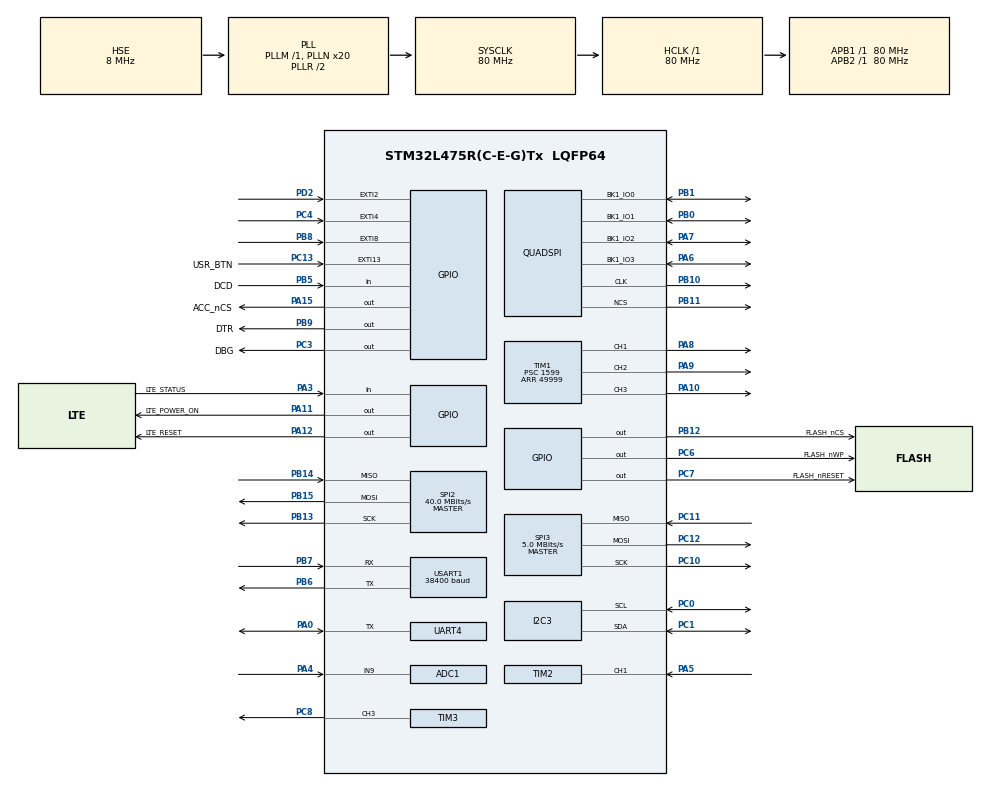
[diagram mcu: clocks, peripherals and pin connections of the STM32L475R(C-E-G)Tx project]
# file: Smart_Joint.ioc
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ADC1.Channel-0\#ChannelRegularConversion=ADC_CHANNEL_9
ADC1.DMAContinuousRequests=ENABLE
ADC1.EOCSelection=ADC_EOC_SEQ_CONV
ADC1.ExternalTrigConv=ADC_EXTERNALTRIG_T4_TRGO
ADC1.NbrOfConversion=1
ADC1.NbrOfConversionFlag=1
ADC1.OffsetNumber-0\#ChannelRegularConversion=ADC_OFFSET_NONE
ADC1.Rank-0\#ChannelRegularConversion=1
ADC1.SamplingTime-0\#ChannelRegularConversion=ADC_SAMPLETIME_2CYCLES_5
ADC1.master=1
Dma.ADC1.0.Direction=DMA_PERIPH_TO_MEMORY
Dma.ADC1.0.Instance=DMA1_Channel1
Dma.ADC1.0.MemDataAlignment=DMA_MDATAALIGN_HALFWORD
Dma.ADC1.0.MemInc=DMA_MINC_ENABLE
Dma.ADC1.0.Mode=DMA_CIRCULAR
Dma.ADC1.0.PeriphDataAlignment=DMA_PDATAALIGN_HALFWORD
Dma.ADC1.0.PeriphInc=DMA_PINC_DISABLE
Dma.ADC1.0.Priority=DMA_PRIORITY_HIGH
Dma.Request0=ADC1
Dma.Request1=USART1_RX
Dma.Request2=USART1_TX
Dma.USART1_RX.1.Direction=DMA_PERIPH_TO_MEMORY
Dma.USART1_RX.1.Instance=DMA1_Channel5
Dma.USART1_RX.1.MemDataAlignment=DMA_MDATAALIGN_BYTE
Dma.USART1_RX.1.MemInc=DMA_MINC_ENABLE
Dma.USART1_RX.1.Mode=DMA_NORMAL
Dma.USART1_RX.1.PeriphDataAlignment=DMA_PDATAALIGN_BYTE
Dma.USART1_RX.1.PeriphInc=DMA_PINC_DISABLE
Dma.USART1_RX.1.Priority=DMA_PRIORITY_LOW
Dma.USART1_TX.2.Direction=DMA_MEMORY_TO_PERIPH
Dma.USART1_TX.2.Instance=DMA1_Channel4
Dma.USART1_TX.2.MemDataAlignment=DMA_MDATAALIGN_BYTE
Dma.USART1_TX.2.MemInc=DMA_MINC_ENABLE
Dma.USART1_TX.2.Mode=DMA_NORMAL
Dma.USART1_TX.2.PeriphDataAlignment=DMA_PDATAALIGN_BYTE
Dma.USART1_TX.2.PeriphInc=DMA_PINC_DISABLE
Dma.USART1_TX.2.Priority=DMA_PRIORITY_MEDIUM
I2C3.Timing=0x10D19CE4
Mcu.Family=STM32L4
Mcu.Name=STM32L475R(C-E-G)Tx
Mcu.Package=LQFP64
NVIC.DMA1_Channel1_IRQn=true\:0\:0\:false\:false\:true\:false\:true\:true
NVIC.DMA1_Channel4_IRQn=true\:0\:0\:false\:false\:true\:false\:true\:true
NVIC.DMA1_Channel5_IRQn=true\:0\:0\:false\:false\:true\:false\:true\:true
NVIC.EXTI15_10_IRQn=true\:2\:0\:true\:false\:true\:true\:true\:true
NVIC.EXTI2_IRQn=true\:0\:0\:false\:false\:true\:true\:true\:true
NVIC.EXTI4_IRQn=true\:1\:0\:true\:false\:true\:true\:true\:true
NVIC.EXTI9_5_IRQn=true\:3\:0\:true\:false\:true\:true\:true\:true
NVIC.PriorityGroup=NVIC_PRIORITYGROUP_4
NVIC.RTC_Alarm_IRQn=true\:2\:0\:true\:false\:true\:true\:true\:true
NVIC.TIM2_IRQn=true\:0\:0\:false\:false\:true\:true\:true\:true
NVIC.USART1_IRQn=true\:1\:0\:true\:false\:true\:true\:true\:true
PA0.GPIO_PuPdOD=GPIO_NOPULL
PA0.Mode=Half_duplex(single_wire_mode)
PA0.Signal=UART4_TX
PA10.Signal=S_TIM1_CH3
PA11.GPIO_Label=LTE_POWER_ON
PA11.GPIO_ModeDefaultOutputPP=GPIO_MODE_OUTPUT_PP
PA11.GPIO_PuPd=GPIO_NOPULL
PA11.PinState=GPIO_PIN_RESET
PA11.Signal=GPIO_Output
PA12.GPIO_Label=LTE_RESET
PA12.GPIO_ModeDefaultOutputPP=GPIO_MODE_OUTPUT_PP
PA12.GPIO_PuPd=GPIO_NOPULL
PA12.PinState=GPIO_PIN_RESET
PA12.Signal=GPIO_Output
PA13\ (JTMS-SWDIO).Mode=Serial_Wire
PA13\ (JTMS-SWDIO).Signal=SYS_JTMS-SWDIO
PA14\ (JTCK-SWCLK).Mode=Serial_Wire
PA14\ (JTCK-SWCLK).Signal=SYS_JTCK-SWCLK
PA15\ (JTDI).GPIO_Label=ACC_nCS
PA15\ (JTDI).Signal=GPIO_Output
PA3.GPIO_Label=LTE_STATUS
PA3.Signal=GPIO_Input
PA4.Signal=ADCx_IN9
PA5.GPIO_PuPd=GPIO_PULLUP
PA5.Signal=S_TIM2_CH1
PA6.Mode=Single Bank
PA6.Signal=QUADSPI_BK1_IO3
PA7.Mode=Single Bank
PA7.Signal=QUADSPI_BK1_IO2
PA8.Signal=S_TIM1_CH1
PA9.Signal=S_TIM1_CH2
PB0.Mode=Single Bank
PB0.Signal=QUADSPI_BK1_IO1
PB1.Mode=Single Bank
PB1.Signal=QUADSPI_BK1_IO0
PB10.Mode=Single Bank
PB10.Signal=QUADSPI_CLK
PB11.Mode=Single Bank
PB11.Signal=QUADSPI_NCS
PB12.GPIO_Label=FLASH_nCS
PB12.PinState=GPIO_PIN_SET
PB12.Signal=GPIO_Output
PB13.Mode=Full_Duplex_Master
PB13.Signal=SPI2_SCK
PB14.Mode=Full_Duplex_Master
PB14.Signal=SPI2_MISO
PB15.Mode=Full_Duplex_Master
PB15.Signal=SPI2_MOSI
PB3\ (JTDO-TRACESWO).Signal=USART1_RTS
PB4\ (NJTRST).Signal=USART1_CTS
PB5.GPIO_Label=DCD
PB5.Signal=GPIO_Input
PB6.Mode=Asynchronous
PB6.Signal=USART1_TX
PB7.Mode=Asynchronous
PB7.Signal=USART1_RX
PB8.Signal=GPXTI8
PB9.GPIO_Label=DTR
PB9.Signal=GPIO_Output
PC0.Mode=I2C
PC0.Signal=I2C3_SCL
PC1.Mode=I2C
PC1.Signal=I2C3_SDA
PC10.Mode=Full_Duplex_Master
PC10.Signal=SPI3_SCK
PC11.Mode=Full_Duplex_Master
PC11.Signal=SPI3_MISO
PC12.Mode=Full_Duplex_Master
PC12.Signal=SPI3_MOSI
PC13.GPIO_Label=USR_BTN
PC13.Signal=GPXTI13
PC3.GPIO_Label=DBG
PC3.Signal=GPIO_Output
PC4.Signal=GPXTI4
PC6.GPIO_Label=FLASH_nWP
PC6.PinState=GPIO_PIN_SET
PC6.Signal=GPIO_Output
PC7.GPIO_Label=FLASH_nRESET
PC7.PinState=GPIO_PIN_SET
PC7.Signal=GPIO_Output
PC8.Signal=S_TIM3_CH3
PD2.Signal=GPXTI2
PH0-OSC_IN\ (PH0).Mode=HSE-External-Oscillator
PH0-OSC_IN\ (PH0).Signal=RCC_OSC_IN
PH1-OSC_OUT\ (PH1).Mode=HSE-External-Oscillator
PH1-OSC_OUT\ (PH1).Signal=RCC_OSC_OUT
ProjectManager.HeapSize=0x200
ProjectManager.StackSize=0x400
ProjectManager.TargetToolchain=STM32CubeIDE
QUADSPI.ClockPrescaler-Single\ Bank=1
QUADSPI.FlashSize-Single\ Bank=24
RCC.ADCFreq_Value=32000000
RCC.AHBFreq_Value=80000000
RCC.APB1Freq_Value=80000000
RCC.APB1TimFreq_Value=80000000
RCC.APB2Freq_Value=80000000
RCC.APB2TimFreq_Value=80000000
RCC.CortexFreq_Value=80000000
RCC.HCLKFreq_Value=80000000
RCC.HSE_VALUE=8000000
RCC.HSI_VALUE=16000000
RCC.LSE_VALUE=32768
RCC.MSI_VALUE=4000000
RCC.PLLN=20
RCC.PLLSourceVirtual=RCC_PLLSOURCE_HSE
RCC.SYSCLKFreq_VALUE=80000000
RCC.SYSCLKSource=RCC_SYSCLKSOURCE_PLLCLK
RCC.USBFreq_Value=32000000
RCC.VCOOutputFreq_Value=160000000
RTC.Alarm-Alarm\ A=RTC_ALARM_A
RTC.AlarmMaskDateWeekDay-Alarm\ A=RTC_ALARMMASK_DATEWEEKDAY
RTC.AlarmMaskHours-Alarm\ A=RTC_ALARMMASK_HOURS
RTC.AlarmMaskSeconds-Alarm\ A=RTC_ALARMMASK_SECONDS
RTC.Format=RTC_FORMAT_BIN
SH.ADCx_IN9.0=ADC1_IN9,IN9-Single-Ended
SH.S_TIM1_CH1.0=TIM1_CH1,PWM Generation1 CH1
SH.S_TIM1_CH2.0=TIM1_CH2,PWM Generation2 CH2
SH.S_TIM1_CH3.0=TIM1_CH3,PWM Generation3 CH3
SH.S_TIM2_CH1.0=TIM2_CH1,Input_Capture1_from_TI1
SH.S_TIM3_CH3.0=TIM3_CH3,PWM Generation3 CH3
SPI2.BaudRatePrescaler=SPI_BAUDRATEPRESCALER_2
SPI2.CalculateBaudRate=40.0 MBits/s
SPI2.DataSize=SPI_DATASIZE_8BIT
SPI2.Direction=SPI_DIRECTION_2LINES
SPI2.Mode=SPI_MODE_MASTER
SPI2.VirtualType=VM_MASTER
SPI3.BaudRatePrescaler=SPI_BAUDRATEPRESCALER_16
SPI3.CalculateBaudRate=5.0 MBits/s
SPI3.DataSize=SPI_DATASIZE_8BIT
SPI3.Direction=SPI_DIRECTION_2LINES
SPI3.Mode=SPI_MODE_MASTER
SPI3.VirtualType=VM_MASTER
TIM1.Channel-PWM\ Generation1\ CH1=TIM_CHANNEL_1
TIM1.Channel-PWM\ Generation2\ CH2=TIM_CHANNEL_2
TIM1.Channel-PWM\ Generation3\ CH3=TIM_CHANNEL_3
TIM1.Period=49999
TIM1.Prescaler=1599
TIM2.Channel-Input_Capture1_from_TI1=TIM_CHANNEL_1
TIM2.Channel-Input_Capture4_from_TI4=TIM_CHANNEL_4
TIM3.Channel-PWM\ Generation3\ CH3=TIM_CHANNEL_3
TIM3.Period=31
TIM3.Pulse-PWM\ Generation3\ CH3=15
TIM4.AutoReloadPreload=TIM_AUTORELOAD_PRELOAD_ENABLE
TIM4.Channel-Output\ Compare3\ No\ Output=TIM_CHANNEL_3
TIM4.Period=999
TIM4.Prescaler=99
TIM4.Pulse-Output\ Compare3\ No\ Output=1
TIM4.TIM_MasterOutputTrigger=TIM_TRGO_UPDATE
TIM4.TIM_MasterSlaveMode=TIM_MASTERSLAVEMODE_DISABLE
USART1.BaudRate=38400
USART1.VirtualMode-Asynchronous=VM_ASYNC
VP_CRC_VS_CRC.Mode=CRC_Activate
VP_RTC_VS_RTC_Activate.Mode=RTC_Enabled
VP_RTC_VS_RTC_Alarm_A_Intern.Mode=Alarm A
VP_RTC_VS_RTC_Calendar.Mode=RTC_Calendar
VP_TIM3_VS_ClockSourceITR.Mode=TriggerSource_ITR3
VP_TIM3_VS_ControllerModeClock.Mode=Clock Mode
VP_TIM4_VS_ClockSourceINT.Mode=Internal
VP_TIM4_VS_no_output3.Mode=Output Compare3 No Output
board=custom

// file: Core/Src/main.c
/* USER CODE BEGIN Header */
/**
 ******************************************************************************
 * @file           : main.c
 * @brief          : Main program body
 ******************************************************************************
 * @attention
 *
 * Copyright (c) 2024 STMicroelectronics.
 * All rights reserved.
 *
 * This software is licensed under terms that can be found in the LICENSE file
 * in the root directory of this software component.
 * If no LICENSE file comes with this software, it is provided AS-IS.
 *
 ******************************************************************************
 */
/* USER CODE END Header */
#include "main.h"

/* USER CODE BEGIN Includes */
#include "leds.h"
#include "peripherals.h"
#include "global_variables.h"
#include "DS18B20.h"
#include "INA3221.h"
#include "INA3221_reg.h"
#include "init.h"
#include "process.h"
#include "FatFS/ff.h"
#include "stdio.h"
#include "string.h"
#include "battery_charger.h"
#include "lsm6dsv16x_reg.h"
#include "SIM7000.h"
#include "ota.h"
/* USER CODE END Includes */

ADC_HandleTypeDef hadc1;
DMA_HandleTypeDef hdma_adc1;

CRC_HandleTypeDef hcrc;

I2C_HandleTypeDef hi2c3;

QSPI_HandleTypeDef hqspi;

RTC_HandleTypeDef hrtc;

SPI_HandleTypeDef hspi2;
SPI_HandleTypeDef hspi3;

TIM_HandleTypeDef htim1;
TIM_HandleTypeDef htim2;
TIM_HandleTypeDef htim3;
TIM_HandleTypeDef htim4;

UART_HandleTypeDef huart4;
UART_HandleTypeDef huart1;
DMA_HandleTypeDef hdma_usart1_rx;
DMA_HandleTypeDef hdma_usart1_tx;

/* USER CODE BEGIN PV */
Machine_State_TypeDef state = IDLE;
System_Resources_Typedef sys = {0};
System_Flags_TypeDef flags = {0};
Config_Typedef config = {0};

FATFS psram_fs = {0};
FATFS flash_fs = {0};

uint32_t T_current = 0;
uint32_t T_prev = 0;
uint32_t V_Period = 0;

supply_bus_t Supply = {0};
uint8_t Period_cnt = 0;
uint8_t Volume_Avg_Cnt = 0;

uint16_t Pressure[PRESS_FULL_SAMPLES] = {0};
uint32_t Volume_Period[VOLUME_SAMPLES] = {0};
uint8_t Acceleration[ACC_FIFO_WATERMARK*7] = {0};
uint16_t Last_Pressure = 0;
uint32_t Last_Volume = 0;
uint32_t Volume_Average_Buffer[VOL_AVG_BUFFER_LEN] = {0};
Acceleration_Data_TypeDef Last_Acceleration = {0};
uint16_t Temperature = 0;
uint16_t Vbatt = 0;

char Data_Logging[100] = {0};
uint8_t Saving_Buffer[SAVING_BUFFER_LEN] = {0};
int Address_Offset = 0;

char LTE_Ack_buffer[100] = {0};

uint16_t Cycles_After_Warning = 0;

uint32_t Saved_Bytes = 0;
uint16_t Saved_Samples = 0;
uint32_t Send_Measure_Addr = 0;
uint8_t tcp_chunk[1460] = {0};
uint32_t Measure_Bytes_Sent = 0;

FRESULT res;

uint16_t Hammer_Th = 0;
uint16_t High_TH_Array[24] = {0};
uint16_t Low_TH_Array[24] = {0};

stmdev_ctx_t acc;
lsm6dsv16x_fifo_status_t fifo_status;
uint16_t num = 0;

uint8_t sim_rx_buffer[SIM_RXBUFFER_SIZE] = {0};
uint16_t sim_write_ptr = 0;
uint16_t sim_read_ptr = 0;

char cfg_var[20] = {0};
int cfg_idx = 0;
char new_cfg_val[10] = {0};

uint8_t compressed_data[MAX_COMPRESSED_SIZE] = {0};

const uint16_t step_size_table_16bit[88] = {                                                            //tabella ottimizzata pseudo logaritmica per 16 bit
		16, 17, 19, 20, 21, 23, 25, 27, 29, 31, 33, 36, 39, 42, 45, 48, 52, 56, 60, 65, 69,
		75, 80, 87, 93, 100, 108, 116, 125, 134, 145, 156, 168, 180, 194, 209, 225, 242, 260,
		280, 302, 325, 349, 376, 404, 435, 468, 504, 542, 584, 628, 676, 728, 783, 843, 907, 976,
		1050, 1130, 1216, 1309, 1409, 1516, 1632, 1756, 1890, 2033, 2188, 2355, 2534, 2727, 2935,
		3159, 3399, 3658, 3937, 4237, 4560, 4907, 5281, 5683, 6116, 6581, 7083, 7622, 8203, 8828, 9500
};
const uint16_t step_size_table_12bit[88] = {                                                            //tabella ottimizzata pseudo logaritmica per 12 bit
		1, 1, 1, 1, 1, 2, 2, 2, 2, 2, 2, 3, 3, 3, 4, 4,
		4, 5, 5, 6, 6, 7, 8, 8, 9, 10, 11, 12, 13, 15, 16, 18,
		20, 22, 24, 26, 29, 32, 35, 38, 42, 46, 51, 56, 62, 68, 75, 83,
		91, 100, 110, 121, 133, 146, 160, 176, 193, 212, 233, 256, 281, 308, 337, 369,
		404, 442, 483, 528, 577, 630, 688, 751, 819, 893, 974, 1062, 1157, 1261, 1373, 1499,
		1629, 1682, 1850, 2035, 2238, 2462, 2709, 2979
};
const int8_t index_adjustment_table_press[8] = { -1, -1, -1, -1, 2, 4, 6, 8 };
const int8_t index_adjustment_table_acc[8] = {0, 0, 1, 1, 2, 2, 3, 3};

const unsigned char base64_table[256] = {
	    0x80,0x80,0x80,0x80,0x80,0x80,0x80,0x80,0x80,0x80,0x80,0x80,0x80,0x80,0x80,0x80,  // 0x00-0x0F
	    0x80,0x80,0x80,0x80,0x80,0x80,0x80,0x80,0x80,0x80,0x80,0x80,0x80,0x80,0x80,0x80,  // 0x10-0x1F
	    0x80,0x80,0x80,0x80,0x80,0x80,0x80,0x80,0x80,0x80,0x80,62,   0x80,0x80,0x80,63,   // 0x20-0x2F
	    52,  53,  54,  55,  56,  57,  58,  59,  60,  61,  0x80,0x80,0x80,64,  0x80,0x80,  // 0x30-0x3F
	    0x80,0,   1,   2,   3,   4,   5,   6,   7,   8,   9,   10,  11,  12,  13,  14,    // 0x40-0x4F
	    15,  16,  17,  18,  19,  20,  21,  22,  23,  24,  25,  0x80,0x80,0x80,0x80,0x80,  // 0x50-0x5F
	    0x80,26,  27,  28,  29,  30,  31,  32,  33,  34,  35,  36,  37,  38,  39,  40,    // 0x60-0x6F
	    41,  42,  43,  44,  45,  46,  47,  48,  49,  50,  51,  0x80,0x80,0x80,0x80,0x80,  // 0x70-0x7F
	    0x80,0x80,0x80,0x80,0x80,0x80,0x80,0x80,0x80,0x80,0x80,0x80,0x80,0x80,0x80,0x80,  // Resto: tutti 0x80 (caratteri non validi)
	    0x80,0x80,0x80,0x80,0x80,0x80,0x80,0x80,0x80,0x80,0x80,0x80,0x80,0x80,0x80,0x80,
	    0x80,0x80,0x80,0x80,0x80,0x80,0x80,0x80,0x80,0x80,0x80,0x80,0x80,0x80,0x80,0x80,
	    0x80,0x80,0x80,0x80,0x80,0x80,0x80,0x80,0x80,0x80,0x80,0x80,0x80,0x80,0x80,0x80,
	    0x80,0x80,0x80,0x80,0x80,0x80,0x80,0x80,0x80,0x80,0x80,0x80,0x80,0x80,0x80,0x80,
	    0x80,0x80,0x80,0x80,0x80,0x80,0x80,0x80,0x80,0x80,0x80,0x80,0x80,0x80,0x80,0x80,
	    0x80,0x80,0x80,0x80,0x80,0x80,0x80,0x80,0x80,0x80,0x80,0x80,0x80,0x80,0x80,0x80,
	    0x80,0x80,0x80,0x80,0x80,0x80,0x80,0x80,0x80,0x80,0x80,0x80,0x80,0x80,0x80,0x80
	};
const char base64_enc_table[64] = "ABCDEFGHIJKLMNOPQRSTUVWXYZabcdefghijklmnopqrstuvwxyz0123456789+/";

uint32_t start = 0;
uint32_t time = 0;

/* USER CODE END PV */

void SystemClock_Config(void);
static void MX_GPIO_Init(void);
static void MX_DMA_Init(void);
static void MX_QUADSPI_Init(void);
static void MX_SPI2_Init(void);
static void MX_USART1_UART_Init(void);
static void MX_ADC1_Init(void);
static void MX_I2C3_Init(void);
static void MX_TIM2_Init(void);
static void MX_UART4_Init(void);
static void MX_TIM1_Init(void);
static void MX_CRC_Init(void);
static void MX_TIM4_Init(void);
static void MX_RTC_Init(void);
static void MX_SPI3_Init(void);
static void MX_TIM3_Init(void);

int main(void)
{

  /* USER CODE BEGIN 1 */
  __disable_irq();
  SCB->VTOR = 0x08000000;
  __DSB();
  __enable_irq();
  /* USER CODE END 1 */

  /* MCU Configuration--------------------------------------------------------*/

  /* Reset of all peripherals, Initializes the Flash interface and the Systick. */
  HAL_Init();

  /* Configure the system clock */
  SystemClock_Config();

  /* Initialize all configured peripherals */
  MX_GPIO_Init();
  MX_DMA_Init();
  MX_QUADSPI_Init();
  MX_SPI2_Init();
  MX_USART1_UART_Init();
  MX_ADC1_Init();
  MX_I2C3_Init();
  MX_TIM2_Init();
  MX_UART4_Init();
  MX_TIM1_Init();
  MX_CRC_Init();
  MX_TIM4_Init();
  MX_RTC_Init();
  MX_SPI3_Init();
  MX_TIM3_Init();
  /* USER CODE BEGIN 2 */
	System_Init();
  /* USER CODE END 2 */

  /* Infinite loop */
  /* USER CODE BEGIN WHILE */
	while (1)
	{
		switch(state)
		{
		case IDLE:
			if(flags.Message_Rx)
			{
				LED_Start(RED_LED, MEDIUM, HIGH);
				SIM_Parse_Command();
				flags.Message_Rx = 0;
				if(flags.CMD.Start_Meas)
				{
					state = MEASURE_INIT_STATE;
					flags.CMD.Start_Meas = 0;
				}
				else if(flags.CMD.Set_Config)
				{
					Apply_Config();
					flags.CMD.Set_Config = 0;
				}
				else if(flags.CMD.Get_Config)
				{
					Send_Config();
					flags.CMD.Get_Config = 0;
				}
				else if(flags.CMD.Start_OTA)
				{
					LED_Stop(GRN_LED);
					LED_Start(ORG_LED, FAST, FULL);
					LED_Start(RED_LED, FAST, HIGH);
					state = OTA_STATE;
					flags.CMD.Start_OTA = 0;
				}
				else if(flags.CMD.Ping)
				{
					SIM_Send_Infos();
					flags.CMD.Ping = 0;
				}
				else if(flags.TCP_Parameter_Changed)
				{
				  char response[256];
				  LED_Start(ORG_LED, MEDIUM, HALF);
				  SIM_Send_Command("AT+CIPCLOSE\n");
				  SIM_Receive_Response(response, 2000);
				  if(strstr(response, "CLOSE OK") == NULL && strstr(response, "ERROR") == NULL)
				  {
					  memset(response, 0, sizeof(response));
					  SIM_Send_Command("AT+CIPSHUT\n");
					  SIM_Receive_Response(response, 70000);
					  if(strstr(response, "SHUT OK") == NULL && strstr(response, "ERROR") == NULL)
					  {
						HAL_NVIC_SystemReset();
					  }
					  HAL_Delay(1000);
				  }
				  SIM_Check_Connection();
				  LED_Stop(ORG_LED);
				  flags.TCP_Parameter_Changed = 0;
				}
				sys.SIM_Connection_Status = HAL_GetTick();
				LED_Stop(RED_LED);
			}
			else if(HAL_GetTick() - sys.SIM_Connection_Status > config.connection_timeout_ms)                  // Controllo connessione al server TCP ogni config.connection_timeout_ms millisecondi
			{
				LED_Start(ORG_LED, MEDIUM, HALF);
				SIM_Check_Connection();
				sys.SIM_Connection_Status = HAL_GetTick();
				LED_Stop(ORG_LED);
			}
			break;

		case MEASURE_INIT_STATE:
			Start_Measure();
			LED_Start(GRN_LED, FAST, FULL);
			state = MEASURING_STATE;
			break;

		case MEASURING_STATE:
			if(flags.ADC_Complete && flags.ACC_Complete)
			{
				start = HAL_GetTick();
				Save_Data();
				time = HAL_GetTick() - start;
				if(flags.BC_Interrupt)
				{
					BC_Read_Flags(&sys.BC_Flags);
					BC_Manage_Interrupts(sys.BC_Flags);
					flags.BC_Interrupt = 0;
				}
				if(flags.Message_Rx)
				{
					SIM_Parse_Command();
					flags.SIM_isConnected = 1;
					flags.Message_Rx = 0;
				}
				if(flags.CMD.Idle)
				{
					if(!flags.Log_TransferInProgress && !flags.Meas_TransferInProgress)
					{
						Stop_Measure();
						LED_Stop(ORG_LED);
						LED_Stop(RED_LED);
						LED_Start(GRN_LED, MEDIUM, HALF);
						state = IDLE;
						flags.CMD.Idle = 0;
						break;
					}
				}
				if(sys.Log_Request)
				{
					if(HAL_GetTick() - sys.Log_Status > config.log_period_ms && !flags.Log_TransferInProgress && !flags.Meas_TransferInProgress)
					{
						LED_Start(ORG_LED, FAST, HIGH);
						sprintf(Data_Logging, "L:%u,%u,%lu,%u,%u,%u,%u,%u,%u,%u,%u,%u,%u,%u", config.device_id, Last_Pressure, Last_Volume, Last_Acceleration.x, Last_Acceleration.y, Last_Acceleration.z, Vbatt, Supply.i1, Supply.i2, Supply.i3, Supply.v1, Supply.v2, Supply.v3, Temperature);
						SIM_Send_TCP_Chunk((uint16_t)strlen(Data_Logging));
						sys.SIM_Prompt_Status = HAL_GetTick();
						sys.Log_Status = sys.SIM_Prompt_Status;
						flags.Log_TransferInProgress = 1;
					}
					if(flags.Log_ReadytoSend)
					{
						SIM_Send_Command_DMA(Data_Logging);
						LED_Stop(ORG_LED);
						flags.SIM_isConnected = 1;
						flags.Log_ReadytoSend = 0;
					}
				}
				if(flags.CMD.Measure_Request)
				{
					if(!flags.Meas_TransferInProgress && !flags.Log_TransferInProgress && !flags.Measure_ReadytoSend)
					{
						if (Send_Measure_Addr == (uint32_t)-1 || Measure_Bytes_Sent >= sys.Inactive_RAM_Len)
						{
							memset(tcp_chunk, 0, 1460);
							LED_Stop(RED_LED);
							flags.CMD.Measure_Request = 0;
							Measure_Bytes_Sent = 0;
							Send_Measure_Addr = 0;
						}
						else
						{
							uint32_t old_addr = Send_Measure_Addr;
							Send_Measure_Addr = Send_Measure_Chunk(sys.Inactive_RAM_Base, sys.Inactive_RAM_Len, Send_Measure_Addr);
							if (Send_Measure_Addr != (uint32_t)-1 && Send_Measure_Addr > old_addr)
							{
								Measure_Bytes_Sent += (Send_Measure_Addr - old_addr);
							}
							else if (Send_Measure_Addr != (uint32_t)-1 && Send_Measure_Addr < old_addr)
							{
								Measure_Bytes_Sent += (Send_Measure_Addr + sys.Inactive_RAM_Len) - old_addr;
							}
							sys.SIM_Prompt_Status = HAL_GetTick();
							flags.Meas_TransferInProgress = 1;
						}
					}
					if(flags.Measure_ReadytoSend)
					{
						SIM_Send_Command_DMA((char*)tcp_chunk);
						flags.Measure_ReadytoSend = 0;
					}
				}
				if(sys.SIM_Prompt_Status > 0 && (HAL_GetTick() - sys.SIM_Prompt_Status) > SIM_PROMPT_TIMEOUT_MS)
				{
					  SIM_Send_Command_DMA("\x1A");
					  flags.Log_TransferInProgress = 0;
					  flags.Meas_TransferInProgress = 0;
					  flags.Measure_ReadytoSend = 0;
					  flags.Log_ReadytoSend = 0;
					  sys.SIM_Prompt_Status = 0;
				}
				if(HAL_GetTick() - sys.SIM_Connection_Status > config.connection_timeout_ms)
				{
					sys.SIM_Connection_Status = HAL_GetTick();
					if(flags.SIM_isConnected)
					{
						flags.SIM_isConnected = 0;
					}
					else
					{
						flags.Log_TransferInProgress = 0;
						flags.Meas_TransferInProgress = 0;
						flags.CMD.Idle = 1;
					}
				}
			}
			break;

		case OTA_STATE:
			if(OTA_Init() == HAL_OK)
			{
				SIM_DMA_Stop();

				SIM_Send_TCP("R:OTA_READY");
				if(OTA_Receive() == HAL_OK)
				{
					SIM_Send_TCP("R:OTA_RECEIVED");
					if(OTA_CRC_Check() == HAL_OK)
					{
						SIM_Send_TCP("R:OTA_CRC_OK");
						if(OTA_Apply() == HAL_OK)
						{
							SIM_Send_TCP("R:OTA_SUCCESS");
							HAL_Delay(500);
							HAL_NVIC_SystemReset();
						}
						else
						{
							SIM_Send_TCP("R:OTA_APPLY_ERROR");
							LED_Stop(ORG_LED);
							LED_Stop(RED_LED);
							LED_Start(GRN_LED, MEDIUM, HALF);
							sys.SIM_Connection_Status = HAL_GetTick();
							SIM_DMA_Start();
							state = IDLE;
						}
					}
					else
					{
						SIM_Send_TCP("R:OTA_CRC_ERROR");
						LED_Stop(ORG_LED);
						LED_Stop(RED_LED);
						LED_Start(GRN_LED, MEDIUM, HALF);
						sys.SIM_Connection_Status = HAL_GetTick();
						SIM_DMA_Start();
						state = IDLE;
						break;
					}

				}
				else
				{
					SIM_Send_TCP("R:OTA_RECEIVE_ERROR");
					LED_Stop(ORG_LED);
					LED_Stop(RED_LED);
					LED_Start(GRN_LED, MEDIUM, HALF);
					sys.SIM_Connection_Status = HAL_GetTick();
					SIM_DMA_Start();
					state = IDLE;
				}
			}
			else
			{
				SIM_Send_TCP("R:OTA_INIT_ERROR");
				LED_Stop(ORG_LED);
				LED_Stop(RED_LED);
				LED_Start(GRN_LED, MEDIUM, HALF);
				sys.SIM_Connection_Status = HAL_GetTick();
				SIM_DMA_Start();
				state = IDLE;
			}
			break;

		default:
			break;
		}
    /* USER CODE END WHILE */

	}
}

void SystemClock_Config(void)
{
  RCC_OscInitTypeDef RCC_OscInitStruct = {0};
  RCC_ClkInitTypeDef RCC_ClkInitStruct = {0};

  /** Configure the main internal regulator output voltage
  */
  if (HAL_PWREx_ControlVoltageScaling(PWR_REGULATOR_VOLTAGE_SCALE1) != HAL_OK)
  {
    Error_Handler();
  }

  /** Initializes the RCC Oscillators according to the specified parameters
  * in the RCC_OscInitTypeDef structure.
  */
  RCC_OscInitStruct.OscillatorType = RCC_OSCILLATORTYPE_LSI|RCC_OSCILLATORTYPE_HSE;
  RCC_OscInitStruct.HSEState = RCC_HSE_ON;
  RCC_OscInitStruct.LSIState = RCC_LSI_ON;
  RCC_OscInitStruct.PLL.PLLState = RCC_PLL_ON;
  RCC_OscInitStruct.PLL.PLLSource = RCC_PLLSOURCE_HSE;
  RCC_OscInitStruct.PLL.PLLM = 1;
  RCC_OscInitStruct.PLL.PLLN = 20;
  RCC_OscInitStruct.PLL.PLLP = RCC_PLLP_DIV7;
  RCC_OscInitStruct.PLL.PLLQ = RCC_PLLQ_DIV2;
  RCC_OscInitStruct.PLL.PLLR = RCC_PLLR_DIV2;
  if (HAL_RCC_OscConfig(&RCC_OscInitStruct) != HAL_OK)
  {
    Error_Handler();
  }

  /** Initializes the CPU, AHB and APB buses clocks
  */
  RCC_ClkInitStruct.ClockType = RCC_CLOCKTYPE_HCLK|RCC_CLOCKTYPE_SYSCLK
                              |RCC_CLOCKTYPE_PCLK1|RCC_CLOCKTYPE_PCLK2;
  RCC_ClkInitStruct.SYSCLKSource = RCC_SYSCLKSOURCE_PLLCLK;
  RCC_ClkInitStruct.AHBCLKDivider = RCC_SYSCLK_DIV1;
  RCC_ClkInitStruct.APB1CLKDivider = RCC_HCLK_DIV1;
  RCC_ClkInitStruct.APB2CLKDivider = RCC_HCLK_DIV1;

  if (HAL_RCC_ClockConfig(&RCC_ClkInitStruct, FLASH_LATENCY_4) != HAL_OK)
  {
    Error_Handler();
  }
}

static void MX_ADC1_Init(void)
{

  ADC_MultiModeTypeDef multimode = {0};
  ADC_ChannelConfTypeDef sConfig = {0};

  /** Common config
  */
  hadc1.Instance = ADC1;
  hadc1.Init.ClockPrescaler = ADC_CLOCK_ASYNC_DIV1;
  hadc1.Init.Resolution = ADC_RESOLUTION_12B;
  hadc1.Init.DataAlign = ADC_DATAALIGN_RIGHT;
  hadc1.Init.ScanConvMode = ADC_SCAN_DISABLE;
  hadc1.Init.EOCSelection = ADC_EOC_SEQ_CONV;
  hadc1.Init.LowPowerAutoWait = DISABLE;
  hadc1.Init.ContinuousConvMode = DISABLE;
  hadc1.Init.NbrOfConversion = 1;
  hadc1.Init.DiscontinuousConvMode = DISABLE;
  hadc1.Init.ExternalTrigConv = ADC_EXTERNALTRIG_T4_TRGO;
  hadc1.Init.ExternalTrigConvEdge = ADC_EXTERNALTRIGCONVEDGE_RISING;
  hadc1.Init.DMAContinuousRequests = ENABLE;
  hadc1.Init.Overrun = ADC_OVR_DATA_PRESERVED;
  hadc1.Init.OversamplingMode = DISABLE;
  if (HAL_ADC_Init(&hadc1) != HAL_OK)
  {
    Error_Handler();
  }

  /** Configure the ADC multi-mode
  */
  multimode.Mode = ADC_MODE_INDEPENDENT;
  if (HAL_ADCEx_MultiModeConfigChannel(&hadc1, &multimode) != HAL_OK)
  {
    Error_Handler();
  }

  /** Configure Regular Channel
  */
  sConfig.Channel = ADC_CHANNEL_9;
  sConfig.Rank = ADC_REGULAR_RANK_1;
  sConfig.SamplingTime = ADC_SAMPLETIME_2CYCLES_5;
  sConfig.SingleDiff = ADC_SINGLE_ENDED;
  sConfig.OffsetNumber = ADC_OFFSET_NONE;
  sConfig.Offset = 0;
  if (HAL_ADC_ConfigChannel(&hadc1, &sConfig) != HAL_OK)
  {
    Error_Handler();
  }

}

static void MX_CRC_Init(void)
{

  hcrc.Instance = CRC;
  hcrc.Init.DefaultPolynomialUse = DEFAULT_POLYNOMIAL_ENABLE;
  hcrc.Init.DefaultInitValueUse = DEFAULT_INIT_VALUE_ENABLE;
  hcrc.Init.InputDataInversionMode = CRC_INPUTDATA_INVERSION_NONE;
  hcrc.Init.OutputDataInversionMode = CRC_OUTPUTDATA_INVERSION_DISABLE;
  hcrc.InputDataFormat = CRC_INPUTDATA_FORMAT_BYTES;
  if (HAL_CRC_Init(&hcrc) != HAL_OK)
  {
    Error_Handler();
  }

}

static void MX_I2C3_Init(void)
{

  hi2c3.Instance = I2C3;
  hi2c3.Init.Timing = 0x10D19CE4;
  hi2c3.Init.OwnAddress1 = 0;
  hi2c3.Init.AddressingMode = I2C_ADDRESSINGMODE_7BIT;
  hi2c3.Init.DualAddressMode = I2C_DUALADDRESS_DISABLE;
  hi2c3.Init.OwnAddress2 = 0;
  hi2c3.Init.OwnAddress2Masks = I2C_OA2_NOMASK;
  hi2c3.Init.GeneralCallMode = I2C_GENERALCALL_DISABLE;
  hi2c3.Init.NoStretchMode = I2C_NOSTRETCH_DISABLE;
  if (HAL_I2C_Init(&hi2c3) != HAL_OK)
  {
    Error_Handler();
  }

  /** Configure Analogue filter
  */
  if (HAL_I2CEx_ConfigAnalogFilter(&hi2c3, I2C_ANALOGFILTER_ENABLE) != HAL_OK)
  {
    Error_Handler();
  }

  /** Configure Digital filter
  */
  if (HAL_I2CEx_ConfigDigitalFilter(&hi2c3, 0) != HAL_OK)
  {
    Error_Handler();
  }

}

static void MX_QUADSPI_Init(void)
{

  /* QUADSPI parameter configuration*/
  hqspi.Instance = QUADSPI;
  hqspi.Init.ClockPrescaler = 1;
  hqspi.Init.FifoThreshold = 1;
  hqspi.Init.SampleShifting = QSPI_SAMPLE_SHIFTING_NONE;
  hqspi.Init.FlashSize = 24;
  hqspi.Init.ChipSelectHighTime = QSPI_CS_HIGH_TIME_1_CYCLE;
  hqspi.Init.ClockMode = QSPI_CLOCK_MODE_0;
  if (HAL_QSPI_Init(&hqspi) != HAL_OK)
  {
    Error_Handler();
  }

}

static void MX_RTC_Init(void)
{

  RTC_TimeTypeDef sTime = {0};
  RTC_DateTypeDef sDate = {0};
  RTC_AlarmTypeDef sAlarm = {0};

  /** Initialize RTC Only
  */
  hrtc.Instance = RTC;
  hrtc.Init.HourFormat = RTC_HOURFORMAT_24;
  hrtc.Init.AsynchPrediv = 127;
  hrtc.Init.SynchPrediv = 255;
  hrtc.Init.OutPut = RTC_OUTPUT_DISABLE;
  hrtc.Init.OutPutRemap = RTC_OUTPUT_REMAP_NONE;
  hrtc.Init.OutPutPolarity = RTC_OUTPUT_POLARITY_HIGH;
  hrtc.Init.OutPutType = RTC_OUTPUT_TYPE_OPENDRAIN;
  if (HAL_RTC_Init(&hrtc) != HAL_OK)
  {
    Error_Handler();
  }

  /** Initialize RTC and set the Time and Date
  */
  sTime.Hours = 0;
  sTime.Minutes = 0;
  sTime.Seconds = 0;
  sTime.DayLightSaving = RTC_DAYLIGHTSAVING_NONE;
  sTime.StoreOperation = RTC_STOREOPERATION_RESET;
  if (HAL_RTC_SetTime(&hrtc, &sTime, RTC_FORMAT_BIN) != HAL_OK)
  {
    Error_Handler();
  }
  sDate.WeekDay = RTC_WEEKDAY_MONDAY;
  sDate.Month = RTC_MONTH_JANUARY;
  sDate.Date = 1;
  sDate.Year = 0;

  if (HAL_RTC_SetDate(&hrtc, &sDate, RTC_FORMAT_BIN) != HAL_OK)
  {
    Error_Handler();
  }

  /** Enable the Alarm A
  */
  sAlarm.AlarmTime.Hours = 0;
  sAlarm.AlarmTime.Minutes = 0;
  sAlarm.AlarmTime.Seconds = 0;
  sAlarm.AlarmTime.SubSeconds = 0;
  sAlarm.AlarmTime.DayLightSaving = RTC_DAYLIGHTSAVING_NONE;
  sAlarm.AlarmTime.StoreOperation = RTC_STOREOPERATION_RESET;
  sAlarm.AlarmMask = RTC_ALARMMASK_DATEWEEKDAY|RTC_ALARMMASK_HOURS
                              |RTC_ALARMMASK_SECONDS;
  sAlarm.AlarmSubSecondMask = RTC_ALARMSUBSECONDMASK_ALL;
  sAlarm.AlarmDateWeekDaySel = RTC_ALARMDATEWEEKDAYSEL_DATE;
  sAlarm.AlarmDateWeekDay = 1;
  sAlarm.Alarm = RTC_ALARM_A;
  if (HAL_RTC_SetAlarm_IT(&hrtc, &sAlarm, RTC_FORMAT_BIN) != HAL_OK)
  {
    Error_Handler();
  }

}

static void MX_SPI2_Init(void)
{

  /* SPI2 parameter configuration*/
  hspi2.Instance = SPI2;
  hspi2.Init.Mode = SPI_MODE_MASTER;
  hspi2.Init.Direction = SPI_DIRECTION_2LINES;
  hspi2.Init.DataSize = SPI_DATASIZE_8BIT;
  hspi2.Init.CLKPolarity = SPI_POLARITY_LOW;
  hspi2.Init.CLKPhase = SPI_PHASE_1EDGE;
  hspi2.Init.NSS = SPI_NSS_SOFT;
  hspi2.Init.BaudRatePrescaler = SPI_BAUDRATEPRESCALER_2;
  hspi2.Init.FirstBit = SPI_FIRSTBIT_MSB;
  hspi2.Init.TIMode = SPI_TIMODE_DISABLE;
  hspi2.Init.CRCCalculation = SPI_CRCCALCULATION_DISABLE;
  hspi2.Init.CRCPolynomial = 7;
  hspi2.Init.CRCLength = SPI_CRC_LENGTH_DATASIZE;
  hspi2.Init.NSSPMode = SPI_NSS_PULSE_ENABLE;
  if (HAL_SPI_Init(&hspi2) != HAL_OK)
  {
    Error_Handler();
  }

}

static void MX_SPI3_Init(void)
{

  /* SPI3 parameter configuration*/
  hspi3.Instance = SPI3;
  hspi3.Init.Mode = SPI_MODE_MASTER;
  hspi3.Init.Direction = SPI_DIRECTION_2LINES;
  hspi3.Init.DataSize = SPI_DATASIZE_8BIT;
  hspi3.Init.CLKPolarity = SPI_POLARITY_LOW;
  hspi3.Init.CLKPhase = SPI_PHASE_1EDGE;
  hspi3.Init.NSS = SPI_NSS_SOFT;
  hspi3.Init.BaudRatePrescaler = SPI_BAUDRATEPRESCALER_16;
  hspi3.Init.FirstBit = SPI_FIRSTBIT_MSB;
  hspi3.Init.TIMode = SPI_TIMODE_DISABLE;
  hspi3.Init.CRCCalculation = SPI_CRCCALCULATION_DISABLE;
  hspi3.Init.CRCPolynomial = 7;
  hspi3.Init.CRCLength = SPI_CRC_LENGTH_DATASIZE;
  hspi3.Init.NSSPMode = SPI_NSS_PULSE_ENABLE;
  if (HAL_SPI_Init(&hspi3) != HAL_OK)
  {
    Error_Handler();
  }

}

static void MX_TIM1_Init(void)
{

  TIM_MasterConfigTypeDef sMasterConfig = {0};
  TIM_OC_InitTypeDef sConfigOC = {0};
  TIM_BreakDeadTimeConfigTypeDef sBreakDeadTimeConfig = {0};

  htim1.Instance = TIM1;
  htim1.Init.Prescaler = 1599;
  htim1.Init.CounterMode = TIM_COUNTERMODE_UP;
  htim1.Init.Period = 49999;
  htim1.Init.ClockDivision = TIM_CLOCKDIVISION_DIV1;
  htim1.Init.RepetitionCounter = 0;
  htim1.Init.AutoReloadPreload = TIM_AUTORELOAD_PRELOAD_DISABLE;
  if (HAL_TIM_PWM_Init(&htim1) != HAL_OK)
  {
    Error_Handler();
  }
  sMasterConfig.MasterOutputTrigger = TIM_TRGO_RESET;
  sMasterConfig.MasterOutputTrigger2 = TIM_TRGO2_RESET;
  sMasterConfig.MasterSlaveMode = TIM_MASTERSLAVEMODE_DISABLE;
  if (HAL_TIMEx_MasterConfigSynchronization(&htim1, &sMasterConfig) != HAL_OK)
  {
    Error_Handler();
  }
  sConfigOC.OCMode = TIM_OCMODE_PWM1;
  sConfigOC.Pulse = 0;
  sConfigOC.OCPolarity = TIM_OCPOLARITY_HIGH;
  sConfigOC.OCNPolarity = TIM_OCNPOLARITY_HIGH;
  sConfigOC.OCFastMode = TIM_OCFAST_DISABLE;
  sConfigOC.OCIdleState = TIM_OCIDLESTATE_RESET;
  sConfigOC.OCNIdleState = TIM_OCNIDLESTATE_RESET;
  if (HAL_TIM_PWM_ConfigChannel(&htim1, &sConfigOC, TIM_CHANNEL_1) != HAL_OK)
  {
    Error_Handler();
  }
  if (HAL_TIM_PWM_ConfigChannel(&htim1, &sConfigOC, TIM_CHANNEL_2) != HAL_OK)
  {
    Error_Handler();
  }
  if (HAL_TIM_PWM_ConfigChannel(&htim1, &sConfigOC, TIM_CHANNEL_3) != HAL_OK)
  {
    Error_Handler();
  }
  sBreakDeadTimeConfig.OffStateRunMode = TIM_OSSR_DISABLE;
  sBreakDeadTimeConfig.OffStateIDLEMode = TIM_OSSI_DISABLE;
  sBreakDeadTimeConfig.LockLevel = TIM_LOCKLEVEL_OFF;
  sBreakDeadTimeConfig.DeadTime = 0;
  sBreakDeadTimeConfig.BreakState = TIM_BREAK_DISABLE;
  sBreakDeadTimeConfig.BreakPolarity = TIM_BREAKPOLARITY_HIGH;
  sBreakDeadTimeConfig.BreakFilter = 0;
  sBreakDeadTimeConfig.Break2State = TIM_BREAK2_DISABLE;
  sBreakDeadTimeConfig.Break2Polarity = TIM_BREAK2POLARITY_HIGH;
  sBreakDeadTimeConfig.Break2Filter = 0;
  sBreakDeadTimeConfig.AutomaticOutput = TIM_AUTOMATICOUTPUT_DISABLE;
  if (HAL_TIMEx_ConfigBreakDeadTime(&htim1, &sBreakDeadTimeConfig) != HAL_OK)
  {
    Error_Handler();
  }
  HAL_TIM_MspPostInit(&htim1);

}

static void MX_TIM2_Init(void)
{

  TIM_MasterConfigTypeDef sMasterConfig = {0};
  TIM_IC_InitTypeDef sConfigIC = {0};

  htim2.Instance = TIM2;
  htim2.Init.Prescaler = 0;
  htim2.Init.CounterMode = TIM_COUNTERMODE_UP;
  htim2.Init.Period = 4294967295;
  htim2.Init.ClockDivision = TIM_CLOCKDIVISION_DIV1;
  htim2.Init.AutoReloadPreload = TIM_AUTORELOAD_PRELOAD_DISABLE;
  if (HAL_TIM_IC_Init(&htim2) != HAL_OK)
  {
    Error_Handler();
  }
  sMasterConfig.MasterOutputTrigger = TIM_TRGO_RESET;
  sMasterConfig.MasterSlaveMode = TIM_MASTERSLAVEMODE_DISABLE;
  if (HAL_TIMEx_MasterConfigSynchronization(&htim2, &sMasterConfig) != HAL_OK)
  {
    Error_Handler();
  }
  sConfigIC.ICPolarity = TIM_INPUTCHANNELPOLARITY_RISING;
  sConfigIC.ICSelection = TIM_ICSELECTION_DIRECTTI;
  sConfigIC.ICPrescaler = TIM_ICPSC_DIV1;
  sConfigIC.ICFilter = 0;
  if (HAL_TIM_IC_ConfigChannel(&htim2, &sConfigIC, TIM_CHANNEL_1) != HAL_OK)
  {
    Error_Handler();
  }

}

static void MX_TIM3_Init(void)
{

  TIM_SlaveConfigTypeDef sSlaveConfig = {0};
  TIM_MasterConfigTypeDef sMasterConfig = {0};
  TIM_OC_InitTypeDef sConfigOC = {0};

  htim3.Instance = TIM3;
  htim3.Init.Prescaler = 0;
  htim3.Init.CounterMode = TIM_COUNTERMODE_UP;
  htim3.Init.Period = 31;
  htim3.Init.ClockDivision = TIM_CLOCKDIVISION_DIV1;
  htim3.Init.AutoReloadPreload = TIM_AUTORELOAD_PRELOAD_DISABLE;
  if (HAL_TIM_Base_Init(&htim3) != HAL_OK)
  {
    Error_Handler();
  }
  if (HAL_TIM_PWM_Init(&htim3) != HAL_OK)
  {
    Error_Handler();
  }
  sSlaveConfig.SlaveMode = TIM_SLAVEMODE_EXTERNAL1;
  sSlaveConfig.InputTrigger = TIM_TS_ITR3;
  if (HAL_TIM_SlaveConfigSynchro(&htim3, &sSlaveConfig) != HAL_OK)
  {
    Error_Handler();
  }
  sMasterConfig.MasterOutputTrigger = TIM_TRGO_RESET;
  sMasterConfig.MasterSlaveMode = TIM_MASTERSLAVEMODE_DISABLE;
  if (HAL_TIMEx_MasterConfigSynchronization(&htim3, &sMasterConfig) != HAL_OK)
  {
    Error_Handler();
  }
  sConfigOC.OCMode = TIM_OCMODE_PWM1;
  sConfigOC.Pulse = 15;
  sConfigOC.OCPolarity = TIM_OCPOLARITY_HIGH;
  sConfigOC.OCFastMode = TIM_OCFAST_DISABLE;
  if (HAL_TIM_PWM_ConfigChannel(&htim3, &sConfigOC, TIM_CHANNEL_3) != HAL_OK)
  {
    Error_Handler();
  }
  HAL_TIM_MspPostInit(&htim3);

}

static void MX_TIM4_Init(void)
{

  TIM_ClockConfigTypeDef sClockSourceConfig = {0};
  TIM_MasterConfigTypeDef sMasterConfig = {0};
  TIM_OC_InitTypeDef sConfigOC = {0};

  htim4.Instance = TIM4;
  htim4.Init.Prescaler = 99;
  htim4.Init.CounterMode = TIM_COUNTERMODE_UP;
  htim4.Init.Period = 999;
  htim4.Init.ClockDivision = TIM_CLOCKDIVISION_DIV1;
  htim4.Init.AutoReloadPreload = TIM_AUTORELOAD_PRELOAD_ENABLE;
  if (HAL_TIM_Base_Init(&htim4) != HAL_OK)
  {
    Error_Handler();
  }
  sClockSourceConfig.ClockSource = TIM_CLOCKSOURCE_INTERNAL;
  if (HAL_TIM_ConfigClockSource(&htim4, &sClockSourceConfig) != HAL_OK)
  {
    Error_Handler();
  }
  if (HAL_TIM_OC_Init(&htim4) != HAL_OK)
  {
    Error_Handler();
  }
  sMasterConfig.MasterOutputTrigger = TIM_TRGO_UPDATE;
  sMasterConfig.MasterSlaveMode = TIM_MASTERSLAVEMODE_DISABLE;
  if (HAL_TIMEx_MasterConfigSynchronization(&htim4, &sMasterConfig) != HAL_OK)
  {
    Error_Handler();
  }
  sConfigOC.OCMode = TIM_OCMODE_TIMING;
  sConfigOC.Pulse = 1;
  sConfigOC.OCPolarity = TIM_OCPOLARITY_HIGH;
  sConfigOC.OCFastMode = TIM_OCFAST_DISABLE;
  if (HAL_TIM_OC_ConfigChannel(&htim4, &sConfigOC, TIM_CHANNEL_3) != HAL_OK)
  {
    Error_Handler();
  }

}

static void MX_UART4_Init(void)
{

  huart4.Instance = UART4;
  huart4.Init.BaudRate = 115200;
  huart4.Init.WordLength = UART_WORDLENGTH_8B;
  huart4.Init.StopBits = UART_STOPBITS_1;
  huart4.Init.Parity = UART_PARITY_NONE;
  huart4.Init.Mode = UART_MODE_TX_RX;
  huart4.Init.HwFlowCtl = UART_HWCONTROL_NONE;
  huart4.Init.OverSampling = UART_OVERSAMPLING_16;
  huart4.Init.OneBitSampling = UART_ONE_BIT_SAMPLE_DISABLE;
  huart4.AdvancedInit.AdvFeatureInit = UART_ADVFEATURE_NO_INIT;
  if (HAL_HalfDuplex_Init(&huart4) != HAL_OK)
  {
    Error_Handler();
  }

}

static void MX_USART1_UART_Init(void)
{

  huart1.Instance = USART1;
  huart1.Init.BaudRate = 38400;
  huart1.Init.WordLength = UART_WORDLENGTH_8B;
  huart1.Init.StopBits = UART_STOPBITS_1;
  huart1.Init.Parity = UART_PARITY_NONE;
  huart1.Init.Mode = UART_MODE_TX_RX;
  huart1.Init.HwFlowCtl = UART_HWCONTROL_NONE;
  huart1.Init.OverSampling = UART_OVERSAMPLING_16;
  huart1.Init.OneBitSampling = UART_ONE_BIT_SAMPLE_DISABLE;
  huart1.AdvancedInit.AdvFeatureInit = UART_ADVFEATURE_NO_INIT;
  if (HAL_UART_Init(&huart1) != HAL_OK)
  {
    Error_Handler();
  }

}

static void MX_DMA_Init(void)
{

  /* DMA controller clock enable */
  __HAL_RCC_DMA1_CLK_ENABLE();

  /* DMA interrupt init */
  /* DMA1_Channel1_IRQn interrupt configuration */
  HAL_NVIC_SetPriority(DMA1_Channel1_IRQn, 0, 0);
  HAL_NVIC_EnableIRQ(DMA1_Channel1_IRQn);
  /* DMA1_Channel4_IRQn interrupt configuration */
  HAL_NVIC_SetPriority(DMA1_Channel4_IRQn, 0, 0);
  HAL_NVIC_EnableIRQ(DMA1_Channel4_IRQn);
  /* DMA1_Channel5_IRQn interrupt configuration */
  HAL_NVIC_SetPriority(DMA1_Channel5_IRQn, 0, 0);
  HAL_NVIC_EnableIRQ(DMA1_Channel5_IRQn);

}

static void MX_GPIO_Init(void)
{
  GPIO_InitTypeDef GPIO_InitStruct = {0};

  /* GPIO Ports Clock Enable */
  __HAL_RCC_GPIOC_CLK_ENABLE();
  __HAL_RCC_GPIOH_CLK_ENABLE();
  __HAL_RCC_GPIOA_CLK_ENABLE();
  __HAL_RCC_GPIOB_CLK_ENABLE();
  __HAL_RCC_GPIOD_CLK_ENABLE();

  /*Configure GPIO pin Output Level */
  HAL_GPIO_WritePin(DBG_GPIO_Port, DBG_Pin, GPIO_PIN_RESET);

  /*Configure GPIO pin Output Level */
  HAL_GPIO_WritePin(FLASH_nCS_GPIO_Port, FLASH_nCS_Pin, GPIO_PIN_SET);

  /*Configure GPIO pin Output Level */
  HAL_GPIO_WritePin(GPIOC, FLASH_nWP_Pin|FLASH_nRESET_Pin, GPIO_PIN_SET);

  /*Configure GPIO pin Output Level */
  HAL_GPIO_WritePin(GPIOA, LTE_POWER_ON_Pin|LTE_RESET_Pin|ACC_nCS_Pin, GPIO_PIN_RESET);

  /*Configure GPIO pin Output Level */
  HAL_GPIO_WritePin(DTR_GPIO_Port, DTR_Pin, GPIO_PIN_RESET);

  /*Configure GPIO pins : USR_BTN_Pin PC4 */
  GPIO_InitStruct.Pin = USR_BTN_Pin|GPIO_PIN_4;
  GPIO_InitStruct.Mode = GPIO_MODE_IT_RISING;
  GPIO_InitStruct.Pull = GPIO_NOPULL;
  HAL_GPIO_Init(GPIOC, &GPIO_InitStruct);

  /*Configure GPIO pins : DBG_Pin FLASH_nWP_Pin FLASH_nRESET_Pin */
  GPIO_InitStruct.Pin = DBG_Pin|FLASH_nWP_Pin|FLASH_nRESET_Pin;
  GPIO_InitStruct.Mode = GPIO_MODE_OUTPUT_PP;
  GPIO_InitStruct.Pull = GPIO_NOPULL;
  GPIO_InitStruct.Speed = GPIO_SPEED_FREQ_LOW;
  HAL_GPIO_Init(GPIOC, &GPIO_InitStruct);

  /*Configure GPIO pin : LTE_STATUS_Pin */
  GPIO_InitStruct.Pin = LTE_STATUS_Pin;
  GPIO_InitStruct.Mode = GPIO_MODE_INPUT;
  GPIO_InitStruct.Pull = GPIO_NOPULL;
  HAL_GPIO_Init(LTE_STATUS_GPIO_Port, &GPIO_InitStruct);

  /*Configure GPIO pins : FLASH_nCS_Pin DTR_Pin */
  GPIO_InitStruct.Pin = FLASH_nCS_Pin|DTR_Pin;
  GPIO_InitStruct.Mode = GPIO_MODE_OUTPUT_PP;
  GPIO_InitStruct.Pull = GPIO_NOPULL;
  GPIO_InitStruct.Speed = GPIO_SPEED_FREQ_LOW;
  HAL_GPIO_Init(GPIOB, &GPIO_InitStruct);

  /*Configure GPIO pins : LTE_POWER_ON_Pin LTE_RESET_Pin ACC_nCS_Pin */
  GPIO_InitStruct.Pin = LTE_POWER_ON_Pin|LTE_RESET_Pin|ACC_nCS_Pin;
  GPIO_InitStruct.Mode = GPIO_MODE_OUTPUT_PP;
  GPIO_InitStruct.Pull = GPIO_NOPULL;
  GPIO_InitStruct.Speed = GPIO_SPEED_FREQ_LOW;
  HAL_GPIO_Init(GPIOA, &GPIO_InitStruct);

  /*Configure GPIO pin : PD2 */
  GPIO_InitStruct.Pin = GPIO_PIN_2;
  GPIO_InitStruct.Mode = GPIO_MODE_IT_RISING;
  GPIO_InitStruct.Pull = GPIO_NOPULL;
  HAL_GPIO_Init(GPIOD, &GPIO_InitStruct);

  /*Configure GPIO pin : DCD_Pin */
  GPIO_InitStruct.Pin = DCD_Pin;
  GPIO_InitStruct.Mode = GPIO_MODE_INPUT;
  GPIO_InitStruct.Pull = GPIO_NOPULL;
  HAL_GPIO_Init(DCD_GPIO_Port, &GPIO_InitStruct);

  /*Configure GPIO pin : PB8 */
  GPIO_InitStruct.Pin = GPIO_PIN_8;
  GPIO_InitStruct.Mode = GPIO_MODE_IT_RISING;
  GPIO_InitStruct.Pull = GPIO_NOPULL;
  HAL_GPIO_Init(GPIOB, &GPIO_InitStruct);

  /* EXTI interrupt init*/
  HAL_NVIC_SetPriority(EXTI2_IRQn, 0, 0);
  HAL_NVIC_EnableIRQ(EXTI2_IRQn);

  HAL_NVIC_SetPriority(EXTI4_IRQn, 1, 0);
  HAL_NVIC_EnableIRQ(EXTI4_IRQn);

  HAL_NVIC_SetPriority(EXTI9_5_IRQn, 3, 0);
  HAL_NVIC_EnableIRQ(EXTI9_5_IRQn);

  HAL_NVIC_SetPriority(EXTI15_10_IRQn, 2, 0);
  HAL_NVIC_EnableIRQ(EXTI15_10_IRQn);

}

void Error_Handler(void)
{
		__disable_irq();
		while (1)
		{
		}
}
